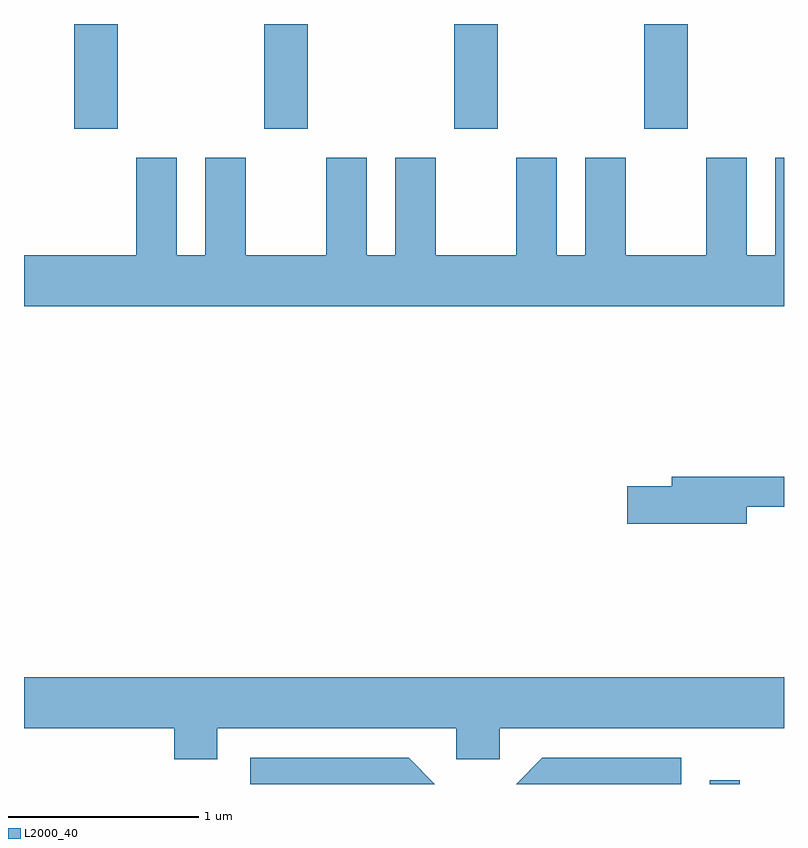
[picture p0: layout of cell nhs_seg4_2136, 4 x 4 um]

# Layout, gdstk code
import gdstk
lib = gdstk.Library(unit=1e-6, precision=1e-09)
def R(c, l, rs):  # rectangles x0, y0, x1, y1
    for r in rs: c.add(gdstk.rectangle(r[:2], r[2:], *l))
def A(c, l, x, y, w, h, nx, ny, dx, dy):  # array of equal rectangles
    R(c, l, [(x+i*dx, y+j*dy, x+i*dx+w, y+j*dy+h) for i in range(nx) for j in range(ny)])
def P(c, l, *ps):  # polygons
    for p in ps: c.add(gdstk.Polygon(p, *l))
L2000_40 = (2000, 40)

nhs_seg4_2136 = lib.new_cell('nhs_seg4_2136')
A(nhs_seg4_2136, L2000_40, 247.876, 1313.431, 0.228, 0.551, 4, 1, 1, 0)
R(nhs_seg4_2136, L2000_40, [(251.221,1309.982,251.379,1310.003)])
P(nhs_seg4_2136, L2000_40, [(251.611,1313.279),(251.566,1313.279),(251.566,1312.764),(251.414,1312.764),(251.414,1313.279),(251.201,1313.279),(251.201,1312.764),(250.779,1312.764),(250.779,1313.279),(250.566,1313.279),(250.566,1312.764),(250.414,1312.764),(250.414,1313.279),(250.201,1313.279),(250.201,1312.764),(249.779,1312.764),(249.779,1313.279),(249.566,1313.279),(249.566,1312.764),(249.414,1312.764),(249.414,1313.279),(249.201,1313.279),(249.201,1312.764),(248.779,1312.764),(248.779,1313.279),(248.566,1313.279),(248.566,1312.764),(248.414,1312.764),(248.414,1313.279),(248.201,1313.279),(248.201,1312.764),(247.611,1312.764),(247.611,1312.496),(251.611,1312.496)],
  [(251.414,1311.441),(251.611,1311.441),(251.611,1311.599),(251.021,1311.599),(251.021,1311.549),(250.786,1311.549),(250.786,1311.351),(251.414,1311.351)],
  [(248.629,1310.276),(249.886,1310.276),(249.886,1310.111),(250.114,1310.111),(250.114,1310.276),(251.611,1310.276),(251.611,1310.544),(247.611,1310.544),(247.611,1310.276),(248.401,1310.276),(248.401,1310.111),(248.629,1310.111)],
  [(251.069,1310.119),(250.339,1310.119),(250.202,1309.982),(251.069,1309.982)],
  [(249.637,1310.119),(248.801,1310.119),(248.801,1309.982),(249.774,1309.982)])

lib.write_gds('nhs_seg4_2136.gds')
